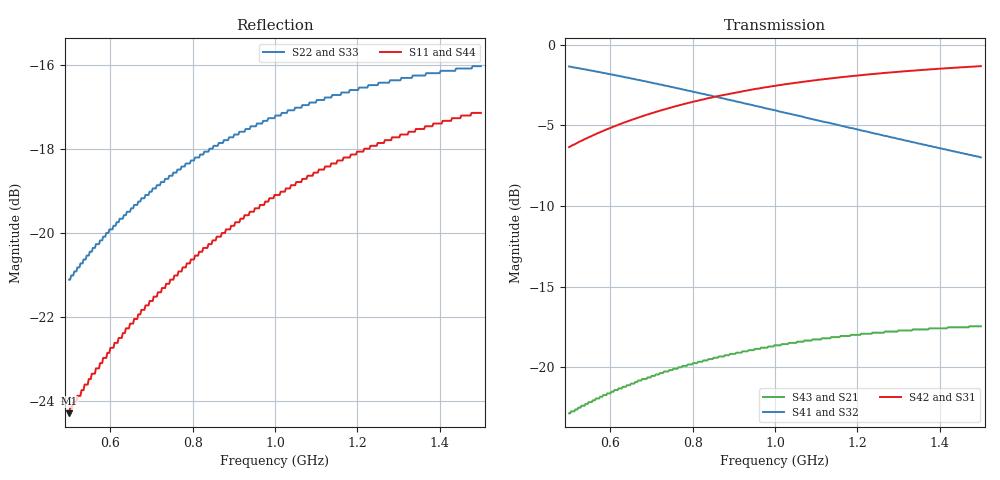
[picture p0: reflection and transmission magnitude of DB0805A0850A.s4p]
!	AVX THIN FILM OPERATION
!	0805 SIZE 3dB 90deg COUPLER P/N DB0805A0850AWTR
!	Created March 23 2003
!	Network Analyzer HP8720E S.07.64: Feb23, 2000 Serial No.US39172382
#	MHZ	S	MA	R	50
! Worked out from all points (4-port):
!   400 points, 500 MHz to 1.5 GHz, reference 50 ohm
!   strongest paths, dB at 500 MHz, 750.6 MHz, 1.001 GHz, 1.252 GHz, 1.5 GHz:
!     S42: -6.4, -3.9, -2.6, -1.8, -1.3
!     S31: -6.4, -3.9, -2.6, -1.8, -1.3
!     S41: -1.4, -2.6, -4.1, -5.6, -7.0
!     S32: -1.4, -2.7, -4.2, -5.7, -7.1
!     S43: -22.9, -20.2, -18.6, -17.9, -17.5
!     S21: -22.9, -20.2, -18.6, -17.9, -17.5
!   lowest |S11| = -24.3 dB at 500 MHz (marker M1), VSWR 1.13, Z = 52.9 - j5.6 ohm
!   |S11| at or under -10 dB: start of sweep to end of sweep
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500  0.061 -59.9  0.072 -83.3  0.481 68.8  0.855 -23.1
     0.072 -83.3  0.088 -76.5  0.852 -20.8  0.481 68.8
     0.481 68.8  0.852 -20.8  0.088 -76.5  0.072 -83.3
     0.855 -23.1  0.481 68.8  0.072 -83.3  0.061 -59.9
582.707  0.071 -60.0  0.082 -82.5  0.54 65.7  0.817 -26.4
         0.082 -82.5  0.099 -76.9  0.814 -23.8  0.54 65.7
         0.54 65.7  0.814 -23.8  0.099 -76.9  0.082 -82.5
         0.817 -26.4  0.54 65.7  0.082 -82.5  0.071 -60.0
675.439  0.081 -59.9  0.091 -81.7  0.598 62.6  0.774 -29.9
         0.091 -81.7  0.11 -76.9  0.77 -26.9  0.598 62.6
         0.598 62.6  0.77 -26.9  0.11 -76.9  0.091 -81.7
         0.774 -29.9  0.598 62.6  0.091 -81.7  0.081 -59.9
775.689  0.091 -59.7  0.101 -80.9  0.652 59.4  0.726 -33.5
         0.101 -80.9  0.12 -76.8  0.722 -30.1  0.652 59.4
         0.652 59.4  0.722 -30.1  0.12 -76.8  0.101 -80.9
         0.726 -33.5  0.652 59.4  0.101 -80.9  0.091 -59.7
936.09  0.105 -59.4  0.113 -79.8  0.722 54.7  0.653 -38.7
        0.113 -79.8  0.133 -76.2  0.647 -34.8  0.722 54.7
        0.722 54.7  0.647 -34.8  0.133 -76.2  0.113 -79.8
        0.653 -38.7  0.722 54.7  0.113 -79.8  0.105 -59.4
1216.792  0.126 -59.5  0.127 -78.6  0.806 47.9  0.539 -46.6
          0.127 -78.6  0.149 -75.1  0.533 -41.9  0.806 47.9
          0.806 47.9  0.533 -41.9  0.149 -75.1  0.127 -78.6
          0.539 -46.6  0.806 47.9  0.127 -78.6  0.126 -59.5
1500  0.139 -60.0  0.134 -78.1  0.857 42.3  0.447 -53.1
      0.134 -78.1  0.158 -74.2  0.44 -47.9  0.857 42.3
      0.857 42.3  0.44 -47.9  0.158 -74.2  0.134 -78.1
      0.447 -53.1  0.857 42.3  0.134 -78.1  0.139 -60.0
